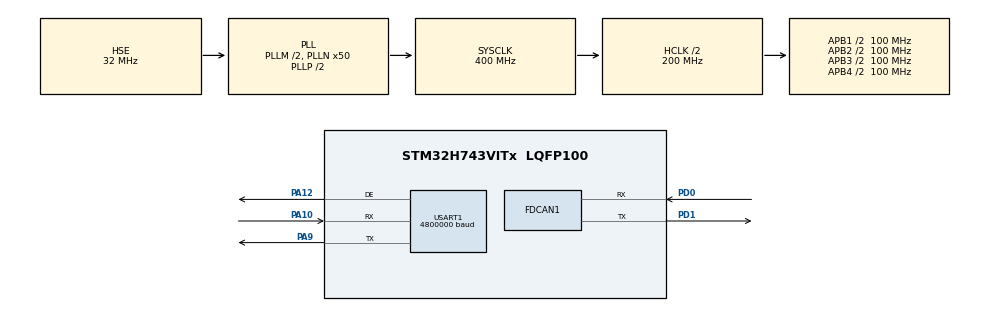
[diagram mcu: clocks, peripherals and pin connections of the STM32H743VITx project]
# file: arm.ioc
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CORTEX_M7.default_mode_Activation=1
FDCAN1.CalculateBaudRateNominal=1000000
FDCAN1.CalculateTimeBitNominal=1000
FDCAN1.CalculateTimeQuantumNominal=50.0
FDCAN1.DataPrescaler=4
FDCAN1.DataTimeSeg1=13
FDCAN1.DataTimeSeg2=6
FDCAN1.ExtFiltersNbr=2
FDCAN1.NominalPrescaler=4
FDCAN1.NominalTimeSeg1=13
FDCAN1.NominalTimeSeg2=6
FDCAN1.ProtocolException=ENABLE
FDCAN1.RxFifo0ElmtsNbr=8
FDCAN1.StdFiltersNbr=2
FDCAN1.TxFifoQueueElmtsNbr=4
FREERTOS.Tasks01=defaultTask,24,128,StartDefaultTask,Default,NULL,Dynamic,NULL,NULL
FREERTOS.configENABLE_FPU=1
FREERTOS.configTOTAL_HEAP_SIZE=65536
Mcu.Family=STM32H7
Mcu.Name=STM32H743VITx
Mcu.Package=LQFP100
NVIC.FDCAN1_IT0_IRQn=true\:5\:0\:false\:false\:true\:true\:true\:true\:true
NVIC.PriorityGroup=NVIC_PRIORITYGROUP_4
NVIC.TIM7_IRQn=true\:15\:0\:false\:false\:true\:false\:false\:true\:true
NVIC.TimeBase=TIM7_IRQn
NVIC.TimeBaseIP=TIM7
NVIC.USART1_IRQn=true\:2\:0\:true\:false\:true\:false\:true\:true\:true
PA10.GPIO_PuPd=GPIO_PULLUP
PA10.Mode=Asynchronous
PA10.Signal=USART1_RX
PA12.Mode=Hardware Flow Control (RS485)
PA12.Signal=USART1_DE
PA9.GPIO_Speed=GPIO_SPEED_FREQ_MEDIUM
PA9.Mode=Asynchronous
PA9.Signal=USART1_TX
PD0.Mode=FDCAN_Activate
PD0.Signal=FDCAN1_RX
PD1.Mode=FDCAN_Activate
PD1.Signal=FDCAN1_TX
PH0-OSC_IN\ (PH0).Mode=HSE-External-Oscillator
PH0-OSC_IN\ (PH0).Signal=RCC_OSC_IN
PH1-OSC_OUT\ (PH1).Mode=HSE-External-Oscillator
PH1-OSC_OUT\ (PH1).Signal=RCC_OSC_OUT
ProjectManager.HeapSize=0x200
ProjectManager.StackSize=0x400
ProjectManager.TargetToolchain=MDK-ARM V5
RCC.ADCFreq_Value=160000000
RCC.APB1Freq_Value=100000000
RCC.APB2Freq_Value=100000000
RCC.APB3Freq_Value=100000000
RCC.APB4Freq_Value=100000000
RCC.CortexFreq_Value=400000000
RCC.D1PPRE=RCC_APB3_DIV2
RCC.D2PPRE1=RCC_APB1_DIV2
RCC.D2PPRE2=RCC_APB2_DIV2
RCC.D3PPRE=RCC_APB4_DIV2
RCC.DIVM1=2
RCC.DIVM2=2
RCC.DIVM3=2
RCC.DIVN1=50
RCC.DIVN2=20
RCC.DIVN3=12
RCC.DIVQ1=7
RCC.DIVQ2=4
RCC.FDCANCLockSelection=RCC_FDCANCLKSOURCE_PLL2
RCC.HCLKFreq_Value=200000000
RCC.HPRE=RCC_HCLK_DIV2
RCC.HSE_VALUE=32000000
RCC.PLLSourceVirtual=RCC_PLLSOURCE_HSE
RCC.SYSCLKFreq_VALUE=400000000
RCC.SYSCLKSource=RCC_SYSCLKSOURCE_PLLCLK
RCC.USART16CLockSelection=RCC_USART16CLKSOURCE_PLL3
RCC.USBFreq_Value=114285714.28571428
USART1.BaudRate=4800000
USART1.VirtualMode-Asynchronous=VM_ASYNC
USART1.VirtualMode-Hardware\ Flow\ Control\ (RS485)=VM_ASYNC
VP_FREERTOS_VS_CMSIS_V2.Mode=CMSIS_V2
VP_MEMORYMAP_VS_MEMORYMAP.Mode=CurAppReg
VP_SYS_VS_tim7.Mode=TIM7
board=custom

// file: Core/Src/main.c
/* USER CODE BEGIN Header */
/**
  ******************************************************************************
  * @file           : main.c
  * @brief          : Main program body
  ******************************************************************************
  * @attention
  *
  * Copyright (c) 2026 STMicroelectronics.
  * All rights reserved.
  *
  * This software is licensed under terms that can be found in the LICENSE file
  * in the root directory of this software component.
  * If no LICENSE file comes with this software, it is provided AS-IS.
  *
  ******************************************************************************
  */
/* USER CODE END Header */
#include "main.h"
#include "FreeRTOS.h"
#include "cmsis_os2.h"
#include "fdcan.h"
#include "usart.h"
#include "gpio.h"

/* USER CODE BEGIN Includes */
#include "damiao_comm_port.h"
#include "motor_comm_port.h"
#include "myactuator_comm_port.h"
#include "robstride_comm_port.h"
/* USER CODE END Includes */

void SystemClock_Config(void);
static void MPU_Config(void);
void MX_FREERTOS_Init(void);

int main(void)
{

  /* MPU Configuration--------------------------------------------------------*/
  MPU_Config();

  /* MCU Configuration--------------------------------------------------------*/

  /* Reset of all peripherals, Initializes the Flash interface and the Systick. */
  HAL_Init();

  /* Configure the system clock */
  SystemClock_Config();

  /* Initialize all configured peripherals */
  MX_GPIO_Init();
  MX_FDCAN1_Init();
  MX_USART1_UART_Init();
  /* USER CODE BEGIN 2 */
  FDCAN_RxDispatcher_Reset();
  if (MYACTUATOR_Comm_Init() != FDCAN_RX_DISPATCH_OK)
  {
    Error_Handler();
  }
  if (DamiaoComm_Init() != FDCAN_ERR_NONE)
  {
    Error_Handler();
  }
  /* 灵足使用 29 位扩展帧，与脉塔/达妙共用 FDCAN1 分发器。 */
  if (RobStrideComm_Init() != FDCAN_RX_DISPATCH_OK)
  {
    Error_Handler();
  }
  MotorComm_Init();
  if (FDCAN_Start(&can1, CAN_RX_FIFO0, FDCAN_IT_LINE0) != FDCAN_ERR_NONE)
  {
    Error_Handler();
  }
  /* USER CODE END 2 */

  /* Init scheduler */
  osKernelInitialize();  /* Call init function for freertos objects (in cmsis_os2.c) */
  MX_FREERTOS_Init();

  /* Start scheduler */
  osKernelStart();

  /* We should never get here as control is now taken by the scheduler */

  /* Infinite loop */
  while (1)
  {

  }
}

void SystemClock_Config(void)
{
  RCC_OscInitTypeDef RCC_OscInitStruct = {0};
  RCC_ClkInitTypeDef RCC_ClkInitStruct = {0};

  /** Supply configuration update enable
  */
  HAL_PWREx_ConfigSupply(PWR_LDO_SUPPLY);

  /** Configure the main internal regulator output voltage
  */
  __HAL_PWR_VOLTAGESCALING_CONFIG(PWR_REGULATOR_VOLTAGE_SCALE1);

  while(!__HAL_PWR_GET_FLAG(PWR_FLAG_VOSRDY)) {}

  /** Initializes the RCC Oscillators according to the specified parameters
  * in the RCC_OscInitTypeDef structure.
  */
  RCC_OscInitStruct.OscillatorType = RCC_OSCILLATORTYPE_HSE;
  RCC_OscInitStruct.HSEState = RCC_HSE_ON;
  RCC_OscInitStruct.PLL.PLLState = RCC_PLL_ON;
  RCC_OscInitStruct.PLL.PLLSource = RCC_PLLSOURCE_HSE;
  RCC_OscInitStruct.PLL.PLLM = 2;
  RCC_OscInitStruct.PLL.PLLN = 50;
  RCC_OscInitStruct.PLL.PLLP = 2;
  RCC_OscInitStruct.PLL.PLLQ = 7;
  RCC_OscInitStruct.PLL.PLLR = 2;
  RCC_OscInitStruct.PLL.PLLRGE = RCC_PLL1VCIRANGE_3;
  RCC_OscInitStruct.PLL.PLLVCOSEL = RCC_PLL1VCOWIDE;
  RCC_OscInitStruct.PLL.PLLFRACN = 0;
  if (HAL_RCC_OscConfig(&RCC_OscInitStruct) != HAL_OK)
  {
    Error_Handler();
  }

  /** Initializes the CPU, AHB and APB buses clocks
  */
  RCC_ClkInitStruct.ClockType = RCC_CLOCKTYPE_HCLK|RCC_CLOCKTYPE_SYSCLK
                              |RCC_CLOCKTYPE_PCLK1|RCC_CLOCKTYPE_PCLK2
                              |RCC_CLOCKTYPE_D3PCLK1|RCC_CLOCKTYPE_D1PCLK1;
  RCC_ClkInitStruct.SYSCLKSource = RCC_SYSCLKSOURCE_PLLCLK;
  RCC_ClkInitStruct.SYSCLKDivider = RCC_SYSCLK_DIV1;
  RCC_ClkInitStruct.AHBCLKDivider = RCC_HCLK_DIV2;
  RCC_ClkInitStruct.APB3CLKDivider = RCC_APB3_DIV2;
  RCC_ClkInitStruct.APB1CLKDivider = RCC_APB1_DIV2;
  RCC_ClkInitStruct.APB2CLKDivider = RCC_APB2_DIV2;
  RCC_ClkInitStruct.APB4CLKDivider = RCC_APB4_DIV2;

  if (HAL_RCC_ClockConfig(&RCC_ClkInitStruct, FLASH_LATENCY_2) != HAL_OK)
  {
    Error_Handler();
  }
}

 /* MPU Configuration */

void MPU_Config(void)
{
  MPU_Region_InitTypeDef MPU_InitStruct = {0};

  /* Disables the MPU */
  HAL_MPU_Disable();

  /** Initializes and configures the Region and the memory to be protected
  */
  MPU_InitStruct.Enable = MPU_REGION_ENABLE;
  MPU_InitStruct.Number = MPU_REGION_NUMBER0;
  MPU_InitStruct.BaseAddress = 0x0;
  MPU_InitStruct.Size = MPU_REGION_SIZE_4GB;
  MPU_InitStruct.SubRegionDisable = 0x87;
  MPU_InitStruct.TypeExtField = MPU_TEX_LEVEL0;
  MPU_InitStruct.AccessPermission = MPU_REGION_NO_ACCESS;
  MPU_InitStruct.DisableExec = MPU_INSTRUCTION_ACCESS_DISABLE;
  MPU_InitStruct.IsShareable = MPU_ACCESS_SHAREABLE;
  MPU_InitStruct.IsCacheable = MPU_ACCESS_NOT_CACHEABLE;
  MPU_InitStruct.IsBufferable = MPU_ACCESS_NOT_BUFFERABLE;

  HAL_MPU_ConfigRegion(&MPU_InitStruct);
  /* Enables the MPU */
  HAL_MPU_Enable(MPU_PRIVILEGED_DEFAULT);

}

void HAL_TIM_PeriodElapsedCallback(TIM_HandleTypeDef *htim)
{
  if (htim->Instance == TIM7)
  {
    HAL_IncTick();
  }
}

void Error_Handler(void)
{
  __disable_irq();
  while (1)
  {
  }
}

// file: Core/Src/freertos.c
/* USER CODE BEGIN Header */
/**
  ******************************************************************************
  * File Name          : freertos.c
  * Description        : Code for freertos applications
  ******************************************************************************
  * @attention
  *
  * Copyright (c) 2026 STMicroelectronics.
  * All rights reserved.
  *
  * This software is licensed under terms that can be found in the LICENSE file
  * in the root directory of this software component.
  * If no LICENSE file comes with this software, it is provided AS-IS.
  *
  ******************************************************************************
  */
/* USER CODE END Header */

#include "FreeRTOS.h"
#include "task.h"
#include "main.h"
#include "FreeRTOS.h"
#include "cmsis_os2.h"

/* USER CODE BEGIN Includes */
#include "Task_config.h"
/* USER CODE END Includes */

/* USER CODE BEGIN Variables */
osThreadId_t motorTaskHandle;
const osThreadAttr_t motorTask_attributes = {
  .name = "MotorTask",
  .stack_size = 256 * 4,
  .priority = (osPriority_t) osPriorityNormal,
};

/* 机械臂上层业务状态机，通过消息队列向动作调度任务发送请求。 */
osThreadId_t armTaskHandle;
const osThreadAttr_t armTask_attributes = {
  .name = "ArmTask",
  .stack_size = 256 * 4,
  .priority = (osPriority_t) osPriorityNormal,
};

/*
 * 动作队列沿用原工程的独立任务配置：普通优先级、2 KiB 栈。
 * 注册代码放在 USER CODE 区域，避免 CubeMX 重新生成时被覆盖。
 */
osThreadId_t actionTaskHandle;
const osThreadAttr_t actionTask_attributes = {
  .name = "Action",
  .stack_size = 512 * 4,
  .priority = (osPriority_t) osPriorityNormal,
};

/* USER CODE END Variables */
/* Definitions for defaultTask */
osThreadId_t defaultTaskHandle;
const osThreadAttr_t defaultTask_attributes = {
  .name = "defaultTask",
  .stack_size = 128 * 4,
  .priority = (osPriority_t) osPriorityNormal,
};

void StartDefaultTask(void *argument);

void MX_FREERTOS_Init(void); /* (MISRA C 2004 rule 8.1) */

void MX_FREERTOS_Init(void) {

  /* USER CODE BEGIN RTOS_QUEUES */
  if (!TaskAction_Init())
  {
    Error_Handler();
  }
  /* USER CODE END RTOS_QUEUES */

  /* Create the thread(s) */
  /* creation of defaultTask */
  defaultTaskHandle = osThreadNew(StartDefaultTask, NULL, &defaultTask_attributes);

  /* USER CODE BEGIN RTOS_THREADS */
  motorTaskHandle = osThreadNew(MotorTask, NULL, &motorTask_attributes);
  if (motorTaskHandle == NULL)
  {
    Error_Handler();
  }

  armTaskHandle = osThreadNew(ArmTask, NULL, &armTask_attributes);
  if (armTaskHandle == NULL)
  {
    Error_Handler();
  }

  actionTaskHandle = osThreadNew(TaskAction, NULL, &actionTask_attributes);
  if (actionTaskHandle == NULL)
  {
    Error_Handler();
  }

  /* USER CODE END RTOS_THREADS */

}

void StartDefaultTask(void *argument)
{
  for(;;)
  {
    osDelay(1);
  }
}
